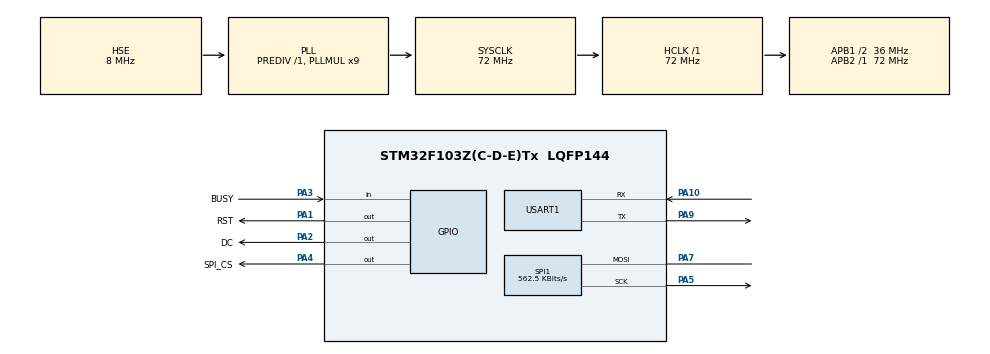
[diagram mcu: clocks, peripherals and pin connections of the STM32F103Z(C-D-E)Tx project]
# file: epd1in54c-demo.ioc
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Mcu.Family=STM32F1
Mcu.Name=STM32F103Z(C-D-E)Tx
Mcu.Package=LQFP144
NVIC.PriorityGroup=NVIC_PRIORITYGROUP_4
OSC_IN.Mode=HSE-External-Oscillator
OSC_IN.Signal=RCC_OSC_IN
OSC_OUT.Mode=HSE-External-Oscillator
OSC_OUT.Signal=RCC_OSC_OUT
PA1.GPIO_Label=RST
PA1.Signal=GPIO_Output
PA10.Mode=Asynchronous
PA10.Signal=USART1_RX
PA2.GPIO_Label=DC
PA2.Signal=GPIO_Output
PA3.GPIO_Label=BUSY
PA3.Signal=GPIO_Input
PA4.GPIO_Label=SPI_CS
PA4.PinState=GPIO_PIN_RESET
PA4.Signal=GPIO_Output
PA5.Mode=Simplex_Bidirectional_Master
PA5.Signal=SPI1_SCK
PA7.Mode=Simplex_Bidirectional_Master
PA7.Signal=SPI1_MOSI
PA9.Mode=Asynchronous
PA9.Signal=USART1_TX
ProjectManager.HeapSize=0x3000
ProjectManager.StackSize=0x1000
ProjectManager.TargetToolchain=MDK-ARM V5
RCC.AHBFreq_Value=72000000
RCC.APB1CLKDivider=RCC_HCLK_DIV2
RCC.APB1Freq_Value=36000000
RCC.APB1TimFreq_Value=72000000
RCC.APB2Freq_Value=72000000
RCC.APB2TimFreq_Value=72000000
RCC.HCLKFreq_Value=72000000
RCC.PLLMUL=RCC_PLL_MUL9
RCC.PLLSourceVirtual=RCC_PLLSOURCE_HSE
RCC.SYSCLKFreq_VALUE=72000000
RCC.SYSCLKSource=RCC_SYSCLKSOURCE_PLLCLK
RCC.USBFreq_Value=72000000
SPI1.BaudRatePrescaler=SPI_BAUDRATEPRESCALER_128
SPI1.CLKPhase=SPI_PHASE_1EDGE
SPI1.CLKPolarity=SPI_POLARITY_LOW
SPI1.CalculateBaudRate=562.5 KBits/s
SPI1.Direction=SPI_DIRECTION_1LINE
SPI1.Mode=SPI_MODE_MASTER
SPI1.VirtualType=VM_MASTER
USART1.VirtualMode=VM_ASYNC
VP_SYS_VS_ND.Mode=No_Debug
board=epd1in54c-demo

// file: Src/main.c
/**
  ******************************************************************************
  * File Name          : main.c
  * Description        : Main program body
  ******************************************************************************
  ** This notice applies to any and all portions of this file
  * that are not between comment pairs USER CODE BEGIN and
  * USER CODE END. Other portions of this file, whether
  * inserted by the user or by software development tools
  * are owned by their respective copyright owners.
  *
  * COPYRIGHT(c) 2017 STMicroelectronics
  *
  * Redistribution and use in source and binary forms, with or without modification,
  * are permitted provided that the following conditions are met:
  *   1. Redistributions of source code must retain the above copyright notice,
  *      this list of conditions and the following disclaimer.
  *   2. Redistributions in binary form must reproduce the above copyright notice,
  *      this list of conditions and the following disclaimer in the documentation
  *      and/or other materials provided with the distribution.
  *   3. Neither the name of STMicroelectronics nor the names of its contributors
  *      may be used to endorse or promote products derived from this software
  *      without specific prior written permission.
  *
  * THIS SOFTWARE IS PROVIDED BY THE COPYRIGHT HOLDERS AND CONTRIBUTORS "AS IS"
  * AND ANY EXPRESS OR IMPLIED WARRANTIES, INCLUDING, BUT NOT LIMITED TO, THE
  * IMPLIED WARRANTIES OF MERCHANTABILITY AND FITNESS FOR A PARTICULAR PURPOSE ARE
  * DISCLAIMED. IN NO EVENT SHALL THE COPYRIGHT HOLDER OR CONTRIBUTORS BE LIABLE
  * FOR ANY DIRECT, INDIRECT, INCIDENTAL, SPECIAL, EXEMPLARY, OR CONSEQUENTIAL
  * DAMAGES (INCLUDING, BUT NOT LIMITED TO, PROCUREMENT OF SUBSTITUTE GOODS OR
  * SERVICES; LOSS OF USE, DATA, OR PROFITS; OR BUSINESS INTERRUPTION) HOWEVER
  * CAUSED AND ON ANY THEORY OF LIABILITY, WHETHER IN CONTRACT, STRICT LIABILITY,
  * OR TORT (INCLUDING NEGLIGENCE OR OTHERWISE) ARISING IN ANY WAY OUT OF THE USE
  * OF THIS SOFTWARE, EVEN IF ADVISED OF THE POSSIBILITY OF SUCH DAMAGE.
  *
  ******************************************************************************
  */
#include "main.h"
#include "stm32f1xx_hal.h"

/* USER CODE BEGIN Includes */
#include "epd1in54c.h"
#include "epdif.h"
#include "epdpaint.h"
#include "imagedata.h"
#include <stdlib.h>
/* USER CODE END Includes */

SPI_HandleTypeDef hspi1;

UART_HandleTypeDef huart1;

/* USER CODE BEGIN PV */
/* Private variables ---------------------------------------------------------*/
#define COLORED      1
#define UNCOLORED    0
/* USER CODE END PV */

void SystemClock_Config(void);
static void MX_GPIO_Init(void);
static void MX_USART1_UART_Init(void);
static void MX_SPI1_Init(void);

/* USER CODE BEGIN PFP */
/* Private function prototypes -----------------------------------------------*/

/* USER CODE END PFP */

int main(void)
{

  /* USER CODE BEGIN 1 */
  /* you have to edit the startup_stm32fxxx.s file and set a big enough heap size */
  unsigned char* frame_buffer_black = (unsigned char*)malloc(EPD_WIDTH * EPD_HEIGHT / 8);
  unsigned char* frame_buffer_red = (unsigned char*)malloc(EPD_WIDTH * EPD_HEIGHT / 8);
  /* USER CODE END 1 */

  /* MCU Configuration----------------------------------------------------------*/

  /* Reset of all peripherals, Initializes the Flash interface and the Systick. */
  HAL_Init();

  /* Configure the system clock */
  SystemClock_Config();

  /* Initialize all configured peripherals */
  MX_GPIO_Init();
  MX_USART1_UART_Init();
  MX_SPI1_Init();

  /* USER CODE BEGIN 2 */
  EPD epd;
  if (EPD_Init(&epd) != 0) {
    printf("e-Paper init failed\n");
    return -1;
  }

//  Paint paint_black;
//  Paint paint_red;
//  Paint_Init(&paint_black, frame_buffer_black, epd.width, epd.height);
//  Paint_Init(&paint_red, frame_buffer_red, epd.width, epd.height);
//  Paint_Clear(&paint_black, UNCOLORED);
//  Paint_Clear(&paint_red, UNCOLORED);

//  /* Draw something to the frame buffer */
//  /* For simplicity, the arguments are explicit numerical coordinates */
//  Paint_DrawRectangle(&paint_black, 10, 60, 50, 110, COLORED);
//  Paint_DrawLine(&paint_black, 10, 60, 50, 110, COLORED);
//  Paint_DrawLine(&paint_black, 50, 60, 10, 110, COLORED);
//  Paint_DrawCircle(&paint_black, 120, 80, 30, COLORED);
////  Paint_DrawFilledRectangle(&paint_red, 10, 130, 50, 180, COLORED);
//  Paint_DrawFilledRectangle(&paint_red, 0, 6, 200, 26, COLORED);
////  Paint_DrawFilledCircle(&paint_red, 120, 150, 30, COLORED);

//  /*Write strings to the buffer */
//  Paint_DrawStringAt(&paint_black, 10, 30, "e-Paper Demo", &Font16, COLORED);
//  Paint_DrawStringAt(&paint_red, 18, 10, "Hello world!", &Font16, UNCOLORED);
//
//  /* Display the frame_buffer */
//  EPD_DisplayFrame(&epd, frame_buffer_black, frame_buffer_red);
//
//	HAL_Delay(30000);

  /* Display the image buffer */
  EPD_DisplayFrame(&epd, IMAGE_BLACK, IMAGE_RED);

  /* USER CODE END 2 */

  /* Infinite loop */
  while (1)
  {

  }

}

/** System Clock Configuration
*/
void SystemClock_Config(void)
{

  RCC_OscInitTypeDef RCC_OscInitStruct;
  RCC_ClkInitTypeDef RCC_ClkInitStruct;

    /**Initializes the CPU, AHB and APB busses clocks
    */
  RCC_OscInitStruct.OscillatorType = RCC_OSCILLATORTYPE_HSE;
  RCC_OscInitStruct.HSEState = RCC_HSE_ON;
  RCC_OscInitStruct.HSEPredivValue = RCC_HSE_PREDIV_DIV1;
  RCC_OscInitStruct.HSIState = RCC_HSI_ON;
  RCC_OscInitStruct.PLL.PLLState = RCC_PLL_ON;
  RCC_OscInitStruct.PLL.PLLSource = RCC_PLLSOURCE_HSE;
  RCC_OscInitStruct.PLL.PLLMUL = RCC_PLL_MUL9;
  if (HAL_RCC_OscConfig(&RCC_OscInitStruct) != HAL_OK)
  {
    _Error_Handler(__FILE__, __LINE__);
  }

    /**Initializes the CPU, AHB and APB busses clocks
    */
  RCC_ClkInitStruct.ClockType = RCC_CLOCKTYPE_HCLK|RCC_CLOCKTYPE_SYSCLK
                              |RCC_CLOCKTYPE_PCLK1|RCC_CLOCKTYPE_PCLK2;
  RCC_ClkInitStruct.SYSCLKSource = RCC_SYSCLKSOURCE_PLLCLK;
  RCC_ClkInitStruct.AHBCLKDivider = RCC_SYSCLK_DIV1;
  RCC_ClkInitStruct.APB1CLKDivider = RCC_HCLK_DIV2;
  RCC_ClkInitStruct.APB2CLKDivider = RCC_HCLK_DIV1;

  if (HAL_RCC_ClockConfig(&RCC_ClkInitStruct, FLASH_LATENCY_2) != HAL_OK)
  {
    _Error_Handler(__FILE__, __LINE__);
  }

    /**Configure the Systick interrupt time
    */
  HAL_SYSTICK_Config(HAL_RCC_GetHCLKFreq()/1000);

    /**Configure the Systick
    */
  HAL_SYSTICK_CLKSourceConfig(SYSTICK_CLKSOURCE_HCLK);

  /* SysTick_IRQn interrupt configuration */
  HAL_NVIC_SetPriority(SysTick_IRQn, 0, 0);
}

/* SPI1 init function */
static void MX_SPI1_Init(void)
{

  hspi1.Instance = SPI1;
  hspi1.Init.Mode = SPI_MODE_MASTER;
  hspi1.Init.Direction = SPI_DIRECTION_1LINE;
  hspi1.Init.DataSize = SPI_DATASIZE_8BIT;
  hspi1.Init.CLKPolarity = SPI_POLARITY_LOW;
  hspi1.Init.CLKPhase = SPI_PHASE_1EDGE;
  hspi1.Init.NSS = SPI_NSS_SOFT;
  hspi1.Init.BaudRatePrescaler = SPI_BAUDRATEPRESCALER_128;
  hspi1.Init.FirstBit = SPI_FIRSTBIT_MSB;
  hspi1.Init.TIMode = SPI_TIMODE_DISABLE;
  hspi1.Init.CRCCalculation = SPI_CRCCALCULATION_DISABLE;
  hspi1.Init.CRCPolynomial = 10;
  if (HAL_SPI_Init(&hspi1) != HAL_OK)
  {
    _Error_Handler(__FILE__, __LINE__);
  }

}

/* USART1 init function */
static void MX_USART1_UART_Init(void)
{

  huart1.Instance = USART1;
  huart1.Init.BaudRate = 115200;
  huart1.Init.WordLength = UART_WORDLENGTH_8B;
  huart1.Init.StopBits = UART_STOPBITS_1;
  huart1.Init.Parity = UART_PARITY_NONE;
  huart1.Init.Mode = UART_MODE_TX_RX;
  huart1.Init.HwFlowCtl = UART_HWCONTROL_NONE;
  huart1.Init.OverSampling = UART_OVERSAMPLING_16;
  if (HAL_UART_Init(&huart1) != HAL_OK)
  {
    _Error_Handler(__FILE__, __LINE__);
  }

}

/** Configure pins as
        * Analog
        * Input
        * Output
        * EVENT_OUT
        * EXTI
*/
static void MX_GPIO_Init(void)
{

  GPIO_InitTypeDef GPIO_InitStruct;

  /* GPIO Ports Clock Enable */
  __HAL_RCC_GPIOA_CLK_ENABLE();

  /*Configure GPIO pin Output Level */
  HAL_GPIO_WritePin(GPIOA, RST_Pin|DC_Pin|SPI_CS_Pin, GPIO_PIN_RESET);

  /*Configure GPIO pins : RST_Pin DC_Pin SPI_CS_Pin */
  GPIO_InitStruct.Pin = RST_Pin|DC_Pin|SPI_CS_Pin;
  GPIO_InitStruct.Mode = GPIO_MODE_OUTPUT_PP;
  GPIO_InitStruct.Speed = GPIO_SPEED_FREQ_LOW;
  HAL_GPIO_Init(GPIOA, &GPIO_InitStruct);

  /*Configure GPIO pin : BUSY_Pin */
  GPIO_InitStruct.Pin = BUSY_Pin;
  GPIO_InitStruct.Mode = GPIO_MODE_INPUT;
  GPIO_InitStruct.Pull = GPIO_NOPULL;
  HAL_GPIO_Init(BUSY_GPIO_Port, &GPIO_InitStruct);

}

/* USER CODE BEGIN 4 */
#ifdef __GNUC__
  /* With GCC/RAISONANCE, small printf (option LD Linker->Libraries->Small printf
     set to 'Yes') calls __io_putchar() */
  #define PUTCHAR_PROTOTYPE int __io_putchar(int ch)
#else
  #define PUTCHAR_PROTOTYPE int fputc(int ch, FILE *f)
#endif /* __GNUC__ */
/**
  * @brief  Retargets the C library printf function to the USART.
  * @param  None
  * @retval None
  */
PUTCHAR_PROTOTYPE
{
  /* Place your implementation of fputc here */
  /* e.g. write a character to the EVAL_COM1 and Loop until the end of transmission */
  HAL_UART_Transmit(&huart1, (uint8_t *)&ch, 1, 0xFFFF);

  return ch;
}
/* USER CODE END 4 */

void _Error_Handler(char * file, int line)
{
  while(1)
  {
  }
}

/************************ (C) COPYRIGHT STMicroelectronics *****END OF FILE****/
